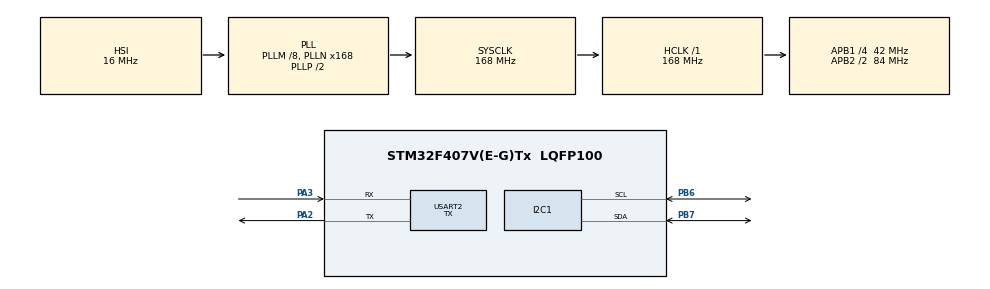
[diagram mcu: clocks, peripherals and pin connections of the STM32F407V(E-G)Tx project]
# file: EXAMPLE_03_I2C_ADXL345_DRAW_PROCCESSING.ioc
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Dma.Request0=USART2_TX
Dma.USART2_TX.0.Direction=DMA_MEMORY_TO_PERIPH
Dma.USART2_TX.0.FIFOMode=DMA_FIFOMODE_DISABLE
Dma.USART2_TX.0.Instance=DMA1_Stream6
Dma.USART2_TX.0.MemDataAlignment=DMA_MDATAALIGN_BYTE
Dma.USART2_TX.0.MemInc=DMA_MINC_ENABLE
Dma.USART2_TX.0.Mode=DMA_CIRCULAR
Dma.USART2_TX.0.PeriphDataAlignment=DMA_PDATAALIGN_BYTE
Dma.USART2_TX.0.PeriphInc=DMA_PINC_DISABLE
Dma.USART2_TX.0.Priority=DMA_PRIORITY_LOW
I2C1.DutyCycle=I2C_DUTYCYCLE_16_9
I2C1.I2C_Mode=I2C_Fast
Mcu.Family=STM32F4
Mcu.Name=STM32F407V(E-G)Tx
Mcu.Package=LQFP100
NVIC.DMA1_Stream6_IRQn=true\:0\:0\:false\:false\:true\:false\:true
NVIC.PriorityGroup=NVIC_PRIORITYGROUP_4
PA2.Mode=Asynchronous
PA2.Signal=USART2_TX
PA3.Mode=Asynchronous
PA3.Signal=USART2_RX
PB6.Mode=I2C
PB6.Signal=I2C1_SCL
PB7.Mode=I2C
PB7.Signal=I2C1_SDA
ProjectManager.HeapSize=0x200
ProjectManager.StackSize=0x400
ProjectManager.TargetToolchain=STM32CubeIDE
RCC.48MHZClocksFreq_Value=84000000
RCC.AHBFreq_Value=168000000
RCC.APB1CLKDivider=RCC_HCLK_DIV4
RCC.APB1Freq_Value=42000000
RCC.APB1TimFreq_Value=84000000
RCC.APB2CLKDivider=RCC_HCLK_DIV2
RCC.APB2Freq_Value=84000000
RCC.APB2TimFreq_Value=168000000
RCC.CortexFreq_Value=168000000
RCC.HCLKFreq_Value=168000000
RCC.HSE_VALUE=25000000
RCC.HSI_VALUE=16000000
RCC.LSE_VALUE=32768
RCC.PLLM=8
RCC.PLLN=168
RCC.SYSCLKFreq_VALUE=168000000
RCC.SYSCLKSource=RCC_SYSCLKSOURCE_PLLCLK
RCC.VCOOutputFreq_Value=336000000
USART2.Mode=MODE_TX
USART2.VirtualMode=VM_ASYNC
board=custom

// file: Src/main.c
/* USER CODE BEGIN Header */
/**
  ******************************************************************************
  * @file           : main.c
  * @brief          : Main program body
  ******************************************************************************
  * @attention
  *
  * <h2><center>&copy; Copyright (c) 2019 STMicroelectronics.
  * All rights reserved.</center></h2>
  *
  * This software component is licensed by ST under BSD 3-Clause license,
  * the "License"; You may not use this file except in compliance with the
  * License. You may obtain a copy of the License at:
  *                        opensource.org/licenses/BSD-3-Clause
  *
  ******************************************************************************
  */
/* USER CODE END Header */

#include "main.h"

/* USER CODE BEGIN Includes */

//#include "defines.h"

#define PROCESSING_3D

#define ADXL_ADDRESS 0xA6	// 0x53 << 1 şeklinde de ifade edilebilir.

/* USER CODE END Includes */

I2C_HandleTypeDef hi2c1;

UART_HandleTypeDef huart2;
DMA_HandleTypeDef hdma_usart2_tx;

/* USER CODE BEGIN PV */

uint8_t i;
uint8_t data_rec[6];
int16_t x,y,z;
float xg, yg, zg;
float data_packet[3] = {0, 0, 0};
char data[120];
char split_data = '#';

/* USER CODE END PV */

void SystemClock_Config(void);
static void MX_GPIO_Init(void);
static void MX_DMA_Init(void);
static void MX_I2C1_Init(void);
static void MX_USART2_UART_Init(void);
/* USER CODE BEGIN PFP */

void Scan_I2C_Address();
void ADXL_Init();
void ADXL_Write(uint8_t reg, uint8_t value);
void ADXL_Read(uint8_t reg, uint8_t numberOfBytes);

/* USER CODE END PFP */

int main(void)
{

  /* MCU Configuration--------------------------------------------------------*/

  /* Reset of all peripherals, Initializes the Flash interface and the Systick. */
  HAL_Init();

  /* Configure the system clock */
  SystemClock_Config();

  /* Initialize all configured peripherals */
  MX_GPIO_Init();
  MX_DMA_Init();
  MX_I2C1_Init();
  MX_USART2_UART_Init();
  /* USER CODE BEGIN 2 */

  Scan_I2C_Address();

  ADXL_Init();

  /* USER CODE END 2 */

  /* Infinite loop */
  while (1)
  {

    /* USER CODE BEGIN 3 */
	  ADXL_Read(0x32, 6);
	  x = (data_rec[1] << 8) | data_rec[0];
	  y = (data_rec[3] << 8) | data_rec[2];
	  z = (data_rec[5] << 8) | data_rec[4];

	  // Bu işlemin ardından eksendeki ivmeyi kontrol etmek için bu verileri g şeklinde dönüştürmemiz gerekir. Yukarıdakileri
	  // başlatma bölümünde +-4g aralığını belirttiğimiz gibi kontrol etmelisiniz. Datasheete göre +-4g aralığında ölçek faktörü 7,8mg/LSB'dir.

	  // Bu yüzden g'ye dönüştürmek için .0078 ile çarpmamız gerekiyor.

	  xg = x * .0078;	// convert the x value g
	  yg = y * .0078;	// convert the y value g
	  zg = z * .0078;	// convert the z value g

	  HAL_Delay(10);

	#ifdef ADXL_345
	  HAL_UART_Transmit(&huart2, (uint8_t*)data, sprintf(data,
			  "Angle values\n- X:%3.4f\n- Y:%3.4f\n- Z:%3.4f\n", x, y, z), 1000));
			#endif

	#ifdef PROCESSING_3D1
	  data_packet[0] = x;
	  data_packet[1] = y;
	  data_packet[2] = z;
	  HAL_UART_Transmit_DMA(&huart2, (uint8_t*)data, sprintf(data, "%1.0f%c%1.0f%c%1.0f", data_packet[0],
	  	  split_data, data_packet[1], split_data, data_packet[2]));
	  	  #endif

  }
  /* USER CODE END 3 */
}

void SystemClock_Config(void)
{
  RCC_OscInitTypeDef RCC_OscInitStruct = {0};
  RCC_ClkInitTypeDef RCC_ClkInitStruct = {0};

  /** Configure the main internal regulator output voltage
  */
  __HAL_RCC_PWR_CLK_ENABLE();
  __HAL_PWR_VOLTAGESCALING_CONFIG(PWR_REGULATOR_VOLTAGE_SCALE1);
  /** Initializes the CPU, AHB and APB busses clocks
  */
  RCC_OscInitStruct.OscillatorType = RCC_OSCILLATORTYPE_HSI;
  RCC_OscInitStruct.HSIState = RCC_HSI_ON;
  RCC_OscInitStruct.HSICalibrationValue = RCC_HSICALIBRATION_DEFAULT;
  RCC_OscInitStruct.PLL.PLLState = RCC_PLL_ON;
  RCC_OscInitStruct.PLL.PLLSource = RCC_PLLSOURCE_HSI;
  RCC_OscInitStruct.PLL.PLLM = 8;
  RCC_OscInitStruct.PLL.PLLN = 168;
  RCC_OscInitStruct.PLL.PLLP = RCC_PLLP_DIV2;
  RCC_OscInitStruct.PLL.PLLQ = 4;
  if (HAL_RCC_OscConfig(&RCC_OscInitStruct) != HAL_OK)
  {
    Error_Handler();
  }
  /** Initializes the CPU, AHB and APB busses clocks
  */
  RCC_ClkInitStruct.ClockType = RCC_CLOCKTYPE_HCLK|RCC_CLOCKTYPE_SYSCLK
                              |RCC_CLOCKTYPE_PCLK1|RCC_CLOCKTYPE_PCLK2;
  RCC_ClkInitStruct.SYSCLKSource = RCC_SYSCLKSOURCE_PLLCLK;
  RCC_ClkInitStruct.AHBCLKDivider = RCC_SYSCLK_DIV1;
  RCC_ClkInitStruct.APB1CLKDivider = RCC_HCLK_DIV4;
  RCC_ClkInitStruct.APB2CLKDivider = RCC_HCLK_DIV2;

  if (HAL_RCC_ClockConfig(&RCC_ClkInitStruct, FLASH_LATENCY_5) != HAL_OK)
  {
    Error_Handler();
  }
}

static void MX_I2C1_Init(void)
{

  hi2c1.Instance = I2C1;
  hi2c1.Init.ClockSpeed = 400000;
  hi2c1.Init.DutyCycle = I2C_DUTYCYCLE_16_9;
  hi2c1.Init.OwnAddress1 = 0;
  hi2c1.Init.AddressingMode = I2C_ADDRESSINGMODE_7BIT;
  hi2c1.Init.DualAddressMode = I2C_DUALADDRESS_DISABLE;
  hi2c1.Init.OwnAddress2 = 0;
  hi2c1.Init.GeneralCallMode = I2C_GENERALCALL_DISABLE;
  hi2c1.Init.NoStretchMode = I2C_NOSTRETCH_DISABLE;
  if (HAL_I2C_Init(&hi2c1) != HAL_OK)
  {
    Error_Handler();
  }

}

static void MX_USART2_UART_Init(void)
{

  huart2.Instance = USART2;
  huart2.Init.BaudRate = 115200;
  huart2.Init.WordLength = UART_WORDLENGTH_8B;
  huart2.Init.StopBits = UART_STOPBITS_1;
  huart2.Init.Parity = UART_PARITY_NONE;
  huart2.Init.Mode = UART_MODE_TX;
  huart2.Init.HwFlowCtl = UART_HWCONTROL_NONE;
  huart2.Init.OverSampling = UART_OVERSAMPLING_16;
  if (HAL_UART_Init(&huart2) != HAL_OK)
  {
    Error_Handler();
  }

}

static void MX_DMA_Init(void)
{

  /* DMA controller clock enable */
  __HAL_RCC_DMA1_CLK_ENABLE();

  /* DMA interrupt init */
  /* DMA1_Stream6_IRQn interrupt configuration */
  HAL_NVIC_SetPriority(DMA1_Stream6_IRQn, 0, 0);
  HAL_NVIC_EnableIRQ(DMA1_Stream6_IRQn);

}

static void MX_GPIO_Init(void)
{

  /* GPIO Ports Clock Enable */
  __HAL_RCC_GPIOA_CLK_ENABLE();
  __HAL_RCC_GPIOB_CLK_ENABLE();

}

/* USER CODE BEGIN 4 */

void Scan_I2C_Address()
{
	for(i=0; i<=255; i++)
	{
		if(HAL_I2C_IsDeviceReady(&hi2c1, i, 1, 10) == HAL_OK)
		{
			HAL_GPIO_TogglePin(GPIOD, GPIO_PIN_11);
			break;
		}
	}
}

void ADXL_Write(uint8_t reg, uint8_t value)
{
	uint8_t data[2]={0};
	data[0] = reg;
	data[1] = value;
	HAL_I2C_Master_Transmit(&hi2c1, ADXL_ADDRESS, data, 2, 100);
}

void ADXL_Read(uint8_t reg, uint8_t numberOfBytes)
{
	HAL_I2C_Mem_Read(&hi2c1, ADXL_ADDRESS, reg, 1, data_rec, numberOfBytes, 100);

	// 281.satır ve sonrasının ardından bu noktaya gelip, verileri okuruz. Veriler, DATAX0, DATAX1, DATAY0, DATAY1, DATAZ0, DATAZ1
	//şeklinde 0x32 ila 0x37 arasındaki Kayıtlarda depolanır. Her kayıt 8 bit veri depolar. bu sebeple 8 bitlik bir değişkene 6 farklı değeri kaydettik.

	// Burada MEM Read yapıyoruz. Çünkü belirli bir bellek adresinden yani 0x32'den okuyoruz ve bu adresten itibaren 6 byte veri okumak zorundayız.
	// Bundan sonra yapılması gereken işlem DATAX0 ve DATAX1 deki veriler tek bir veriye dönüştürülmeli bu işlem 125.satırda yapılır
}

void ADXL_Init()
{
	ADXL_Read(0x00, 1);		// Read adres: 0x00 and 1 bit if bits = 0xE5 sensor is true work
	// Kodlarımızı yazmadan önce, cihazın DEVID değerini kontrol ederek her şeyin yolunda olup olmadığından emin olmakta fayda var.
	// DEVID kaydı (0x00), 0xE5 sabit bir cihaz kimliği koduna sahiptir. Kod 0xE5 ile eşleşirse, çalışmaya devam edebilir, dataları okuyabiliriz.
	// 271.satır

	ADXL_Write(0x2D, 0);	// Reset all bits

	// Setup for measurement
	ADXL_Write(0x2D, 0x08);	// Measure bit-1, wake up 0, 0 at 8 hz (Ölçüm bitini set, wake up bitini reset ve frekansı 8Hz olarak ayarladık.)
	// Set to Range +- 4g
	ADXL_Write(0x31, 0x01);	// +- 4g range
	// And ok ready to read for value
}

/* USER CODE END 4 */

void Error_Handler(void)
{
}

/************************ (C) COPYRIGHT STMicroelectronics *****END OF FILE****/
